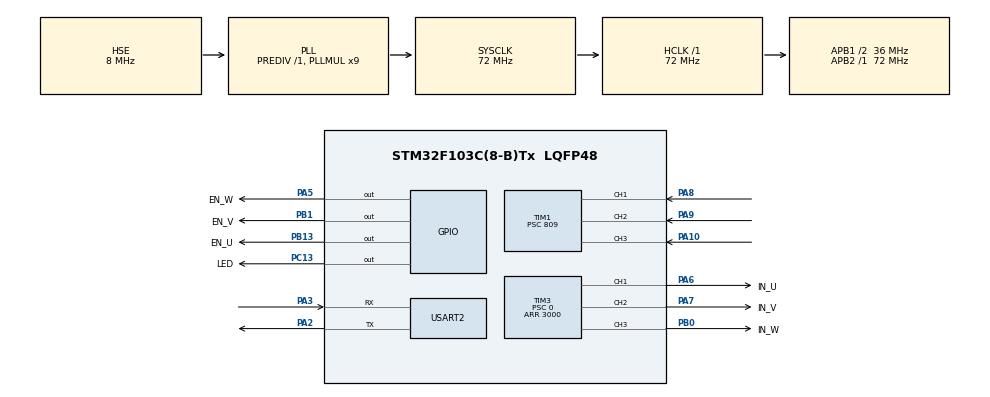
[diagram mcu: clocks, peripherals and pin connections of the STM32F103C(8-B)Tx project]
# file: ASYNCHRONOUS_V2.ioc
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Dma.Request0=USART2_TX
Dma.USART2_TX.0.Direction=DMA_MEMORY_TO_PERIPH
Dma.USART2_TX.0.Instance=DMA1_Channel7
Dma.USART2_TX.0.MemDataAlignment=DMA_MDATAALIGN_BYTE
Dma.USART2_TX.0.MemInc=DMA_MINC_ENABLE
Dma.USART2_TX.0.Mode=DMA_CIRCULAR
Dma.USART2_TX.0.PeriphDataAlignment=DMA_PDATAALIGN_BYTE
Dma.USART2_TX.0.PeriphInc=DMA_PINC_DISABLE
Dma.USART2_TX.0.Priority=DMA_PRIORITY_LOW
Mcu.Family=STM32F1
Mcu.Name=STM32F103C(8-B)Tx
Mcu.Package=LQFP48
NVIC.DMA1_Channel7_IRQn=true\:0\:0\:false\:false\:true\:false\:true\:true
NVIC.PriorityGroup=NVIC_PRIORITYGROUP_4
NVIC.TIM4_IRQn=true\:0\:0\:true\:false\:true\:true\:true\:true
NVIC.USART2_IRQn=true\:0\:0\:true\:false\:true\:true\:true\:true
PA10.Signal=S_TIM1_CH3
PA13.Mode=Serial_Wire
PA13.Signal=SYS_JTMS-SWDIO
PA14.Mode=Serial_Wire
PA14.Signal=SYS_JTCK-SWCLK
PA2.Mode=Asynchronous
PA2.Signal=USART2_TX
PA3.Mode=Asynchronous
PA3.Signal=USART2_RX
PA5.GPIO_Label=EN_W
PA5.GPIO_ModeDefaultOutputPP=GPIO_MODE_OUTPUT_PP
PA5.GPIO_PuPd=GPIO_NOPULL
PA5.GPIO_Speed=GPIO_SPEED_FREQ_LOW
PA5.Signal=GPIO_Output
PA6.GPIO_Label=IN_U
PA6.GPIO_Speed=GPIO_SPEED_FREQ_HIGH
PA6.Signal=S_TIM3_CH1
PA7.GPIO_Label=IN_V
PA7.GPIO_Speed=GPIO_SPEED_FREQ_HIGH
PA7.Signal=S_TIM3_CH2
PA8.Signal=S_TIM1_CH1
PA9.Signal=S_TIM1_CH2
PB0.GPIO_Label=IN_W
PB0.GPIO_Speed=GPIO_SPEED_FREQ_HIGH
PB0.Signal=S_TIM3_CH3
PB1.GPIO_Label=EN_V
PB1.GPIO_ModeDefaultOutputPP=GPIO_MODE_OUTPUT_PP
PB1.GPIO_PuPd=GPIO_NOPULL
PB1.GPIO_Speed=GPIO_SPEED_FREQ_LOW
PB1.Signal=GPIO_Output
PB13.GPIO_Label=EN_U
PB13.GPIO_ModeDefaultOutputPP=GPIO_MODE_OUTPUT_PP
PB13.GPIO_PuPd=GPIO_NOPULL
PB13.GPIO_Speed=GPIO_SPEED_FREQ_LOW
PB13.Signal=GPIO_Output
PC13-TAMPER-RTC.GPIO_Label=LED
PC13-TAMPER-RTC.Signal=GPIO_Output
PD0-OSC_IN.Mode=HSE-External-Oscillator
PD0-OSC_IN.Signal=RCC_OSC_IN
PD1-OSC_OUT.Mode=HSE-External-Oscillator
PD1-OSC_OUT.Signal=RCC_OSC_OUT
ProjectManager.HeapSize=0x200
ProjectManager.StackSize=0x400
ProjectManager.TargetToolchain=STM32CubeIDE
RCC.ADCPresc=RCC_ADCPCLK2_DIV8
RCC.AHBFreq_Value=72000000
RCC.APB1CLKDivider=RCC_HCLK_DIV2
RCC.APB1Freq_Value=36000000
RCC.APB1TimFreq_Value=72000000
RCC.APB2Freq_Value=72000000
RCC.APB2TimFreq_Value=72000000
RCC.HCLKFreq_Value=72000000
RCC.PLLMUL=RCC_PLL_MUL9
RCC.PLLSourceVirtual=RCC_PLLSOURCE_HSE
RCC.SYSCLKFreq_VALUE=72000000
RCC.SYSCLKSource=RCC_SYSCLKSOURCE_PLLCLK
RCC.USBFreq_Value=72000000
SH.S_TIM1_CH1.0=TIM1_CH1,Input_Capture1_from_TI1
SH.S_TIM1_CH2.0=TIM1_CH2,Input_Capture2_from_TI2
SH.S_TIM1_CH3.0=TIM1_CH3,Input_Capture3_from_TI3
SH.S_TIM3_CH1.0=TIM3_CH1,PWM Generation1 CH1
SH.S_TIM3_CH2.0=TIM3_CH2,PWM Generation2 CH2
SH.S_TIM3_CH3.0=TIM3_CH3,PWM Generation3 CH3
TIM1.Channel-Input_Capture1_from_TI1=TIM_CHANNEL_1
TIM1.Channel-Input_Capture2_from_TI2=TIM_CHANNEL_2
TIM1.Channel-Input_Capture3_from_TI3=TIM_CHANNEL_3
TIM1.ICFilter_CH1=12
TIM1.ICFilter_CH2=12
TIM1.ICFilter_CH3=12
TIM1.Prescaler=809
TIM3.AutoReloadPreload=TIM_AUTORELOAD_PRELOAD_ENABLE
TIM3.Channel-PWM\ Generation1\ CH1=TIM_CHANNEL_1
TIM3.Channel-PWM\ Generation2\ CH2=TIM_CHANNEL_2
TIM3.Channel-PWM\ Generation3\ CH3=TIM_CHANNEL_3
TIM3.OC1Preload_PWM=DISABLE
TIM3.OC2Preload_PWM=DISABLE
TIM3.OC3Preload_PWM=DISABLE
TIM3.OCFastMode_PWM-PWM\ Generation1\ CH1=TIM_OCFAST_DISABLE
TIM3.OCFastMode_PWM-PWM\ Generation2\ CH2=TIM_OCFAST_DISABLE
TIM3.Period=3000
TIM3.Prescaler=0
TIM3.TIM_MasterOutputTrigger=TIM_TRGO_UPDATE
TIM4.AutoReloadPreload=TIM_AUTORELOAD_PRELOAD_DISABLE
TIM4.Channel-Output\ Compare1\ No\ Output=TIM_CHANNEL_1
TIM4.Channel-Output\ Compare2\ No\ Output=TIM_CHANNEL_2
TIM4.ClockDivision=TIM_CLOCKDIVISION_DIV1
TIM4.OC1Preload=ENABLE
TIM4.OC2Preload=ENABLE
TIM4.OCMode_2=TIM_OCMODE_TIMING
TIM4.Period=19999
TIM4.Prescaler=7199
TIM4.TIM_MasterOutputTrigger=TIM_TRGO_UPDATE
USART2.VirtualMode=VM_ASYNC
VP_TIM1_VS_ClockSourceINT.Mode=Internal
VP_TIM3_VS_ClockSourceINT.Mode=Internal
VP_TIM4_VS_ClockSourceINT.Mode=Internal
VP_TIM4_VS_no_output1.Mode=Output Compare1 No Output
VP_TIM4_VS_no_output2.Mode=Output Compare2 No Output
board=custom

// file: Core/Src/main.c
/* USER CODE BEGIN Header */
/**
  ******************************************************************************
  * @file           : main.c
  * @brief          : Main program body
  ******************************************************************************
  * @attention
  *
  * Copyright (c) 2025 STMicroelectronics.
  * All rights reserved.
  *
  * This software is licensed under terms that can be found in the LICENSE file
  * in the root directory of this software component.
  * If no LICENSE file comes with this software, it is provided AS-IS.
  *
  ******************************************************************************
  */
/* USER CODE END Header */
#include "main.h"

TIM_HandleTypeDef htim1;
TIM_HandleTypeDef htim3;
TIM_HandleTypeDef htim4;

UART_HandleTypeDef huart2;
DMA_HandleTypeDef hdma_usart2_tx;

/* USER CODE BEGIN PV */
const uint8_t float_phase_lookuptable[6] = {PHASE_W,PHASE_V,PHASE_U,PHASE_W,PHASE_V,PHASE_U}; //W ch1, U ch2, V ch3
 typedef enum {
	IDLE,
	PROCESS_COMMAND,
	STARTUP,
	RUNNING,
	ALIGNING,
	READY, // aligned
	FINISH

}state;

 void commutation(uint8_t step,uint16_t pwm);
 void commutator(void);
 void processCommand(char *input);
 void clearRxBuffer(void);

 void blink(void);
 state handleState(void);
 void ledON(void);
 void alignment(void);
 void startup(void);
 void pwm_stop(void);
 void pwm_init(void);
 long map(long x, long in_min, long in_max, long out_min, long out_max) {
	return (x - in_min) * (out_max - out_min) / (in_max - in_min) + out_min;
}
 uint8_t rx_data[1];
 uint8_t rx_buffer[BUFFER_SIZE];
 uint8_t rx_index = 0;
 volatile state state_machine = IDLE;
 volatile bool eventFlag = false;

 volatile uint16_t pwmVal = 0;
 volatile uint8_t commutationStep = 0;
 volatile uint16_t commutationTime = 0;
volatile uint16_t reference_comm = 0;
volatile uint16_t reference_zcp = 0;

volatile uint16_t zcp_period=400;
volatile uint16_t zcp_period_next;
volatile uint16_t zcp_period_flt;
volatile uint16_t nextCommutTime;
volatile uint16_t halfCommutTime;
 bool aligned_flag = false;
 bool startup_flag = false;
 bool startup_ok = false;
bool float_W = false;
bool float_U = false;
bool float_V = false;
 bool floating_phases[3] = {false,false,false};
 uint8_t floating_phase_iterator = 0;
uint8_t sensor_state;
 typedef struct {
     char *command;               // Texto del comando
     void (*execute)();
 } Command;

 Command commandTable[] = {
     {"ALIGN", alignment},
 	{"LEDON", ledON},
 	{"STARTUP", startup},
     {NULL, NULL}  // Marca el final de la tabla
 };
 typedef struct{
 	state currentState;
 	bool *eventFlag;
 	uint32_t delay;
 }TimerDependentEvent;

 TimerDependentEvent eventTable[]={
 		{ALIGNING, &aligned_flag, 1},
 		{RUNNING, &eventFlag, 1},
		{STARTUP, &startup_flag, STARTUP_TIME_X},
 		{IDLE, NULL, 0}
 };

#define COEF_ADVC_ANGLE 0.105
#define NUM_TIMER_EVENTS (sizeof(eventTable)/sizeof(eventTable[0]))
#define PWM_STOP 		HAL_TIM_PWM_Stop(&htim3, IN_U);\
						HAL_TIM_PWM_Stop(&htim3, IN_V);\
						HAL_TIM_PWM_Stop(&htim3, IN_W);
/* USER CODE END PV */

void SystemClock_Config(void);
static void MX_GPIO_Init(void);
static void MX_DMA_Init(void);
static void MX_TIM4_Init(void);
static void MX_USART2_UART_Init(void);
static void MX_TIM3_Init(void);
static void MX_TIM1_Init(void);

/* USER CODE BEGIN 0 */

void pwm_stop(void) {
	__HAL_TIM_SET_COMPARE(&htim3, IN_U, 0);
	__HAL_TIM_SET_COMPARE(&htim3, IN_V, 0);
	__HAL_TIM_SET_COMPARE(&htim3, IN_W, 0);
	__HAL_TIM_SET_COUNTER(&htim3, 0);

}

void pwm_init(void){
	__HAL_TIM_SET_COMPARE(&htim3, IN_U, 0);
	__HAL_TIM_SET_COMPARE(&htim3, IN_V, 0);
	__HAL_TIM_SET_COMPARE(&htim3, IN_W, 0);

	HAL_TIM_PWM_Start(&htim3, IN_U);
	HAL_TIM_PWM_Start(&htim3,IN_V);
	HAL_TIM_PWM_Start(&htim3, IN_W);
	return;
}

void alignment(void){
	aligned_flag = false;
	state_machine = ALIGNING;
	HAL_TIM_Base_Stop_IT(&htim4);
	HAL_TIM_OC_Stop_IT(&htim4, TIM_CHANNEL_1);
	HAL_TIM_Base_Stop(&htim4);

	__HAL_TIM_SET_COUNTER(&htim4, 0);
	__HAL_TIM_SET_COMPARE(&htim4, TIM_CHANNEL_1, ALIGN_TIME);
	pwm_init();

	commutation(POS_UV, DC_ALIGN);
	HAL_TIM_Base_Start_IT(&htim4);
	HAL_TIM_OC_Start_IT(&htim4, TIM_CHANNEL_1);
	while(!aligned_flag);
	state_machine = READY;
	pwm_stop();
}

void startup(void){
	alignment();
	state_machine =  STARTUP;
	bool  localFlag = false;
	pwmVal = DC_STARTUP_INIT;
	pwm_init();
	commutationStep = POS_UV;
	commutationTime = TIME_STARTUP_COMMUTATION_INIT;
	uint16_t duration = 0;
	pwm_init();
	while(!localFlag){
		//__HAL_TIM_SET_COUNTER(&htim4, 0);
		//__HAL_TIM_SET_COMPARE(&htim4, TIM_CHANNEL_1, time);
		HAL_Delay(commutationTime);
		commutation(commutationStep, pwmVal);
		//HAL_TIM_Base_Start_IT(&htim4);
		//HAL_TIM_OC_Start_IT(&htim4, TIM_CHANNEL_1);
		//while(!startup_flag);

		commutationStep = (commutationStep + 1) % NUM_POS;
		(pwmVal < DC_STARTUP_END) ? pwmVal += DC_STARTUP_STEP : pwmVal;
	    if (commutationTime > TIME_STARTUP_COMMUTATION_FINAL) {
	    	commutationTime -= TIME_STARTUP_STEP;
	    } else if (duration < 500){
	        duration++;

	    }
	    else {

			localFlag = true;

			__HAL_TIM_SET_COUNTER(&htim4, 0);

	    }
//		startup_flag = false;

	}
	//commutationTime*=10;
	HAL_TIM_OC_Stop_IT(&htim4, TIM_CHANNEL_1); // Detiene canal 1
	TIM4->ARR = 0xFFFF;
	TIM4->PSC = 809;

	float_U = true;
	float_V = true;
	float_W = true;
	__HAL_TIM_SET_COUNTER(&htim4, 0);

}

void ledON(){

	eventFlag = true;

	__HAL_TIM_SET_COMPARE(&htim4, TIM_CHANNEL_1, 19999);

	HAL_TIM_OC_Start_IT(&htim4, TIM_CHANNEL_1);

}
void processCommand(char *input) {
    for (int i = 0; commandTable[i].command != NULL; i++) {
        if (strcmp(input, commandTable[i].command) == 0) {  // Compara el comando recibido
            eventFlag = true;
        	commandTable[i].execute();  // Ejecuta la función asociada
            clearRxBuffer();  // Limpia el buffer acumulador

            return;
        }
    }
    // Si no se encuentra el comando
    HAL_UART_Transmit(&huart2, (uint8_t *)"Unknown Command\r\n", 17, 3);
    clearRxBuffer();
    state_machine = IDLE;
    return;// Limpia el buffer acumulador

}

void clearRxBuffer(void) {
    memset(rx_buffer, 0, BUFFER_SIZE);  // Establece todos los elementos a 0
    rx_index = 0;                          // Reinicia el índice del buffer
}

void HAL_UART_RxCpltCallback(UART_HandleTypeDef *huart) {
    if (huart->Instance == USART2) {  // Verifica el UART correcto
        if (rx_data[0] == '\r') {  // Detecta el carácter de fin de línea
            rx_buffer[rx_index] = '\0';  // Finaliza la cadena con terminador nulo
            rx_index = 0;  // Reinicia el índice para el próximo mensaje

            // Procesa el mensaje completo
            HAL_UART_Transmit(&huart2, (uint8_t *)"\r\nReceived: ", 12, 3);
            HAL_UART_Transmit(&huart2, rx_buffer	, strlen((char *)rx_buffer), 3);
            HAL_UART_Transmit(&huart2, (uint8_t *)"\r\n", 2, HAL_MAX_DELAY);
            state_machine = PROCESS_COMMAND;
        } else if (rx_data[0] == '\b' || rx_data[0] == '\177') {  // Detecta Backspace
            if (rx_index > 0) {  // Si hay algo en el buffer
                rx_index--;  // Retrocede el índice
                // Simula el borrado en el terminal
                HAL_UART_Transmit(&huart2, (uint8_t *)"\b \b", 3, 3);
            }
        } else {  // Cualquier otro carácter
            rx_buffer[rx_index++] = rx_data[0];  // Almacena el carácter en el buffer
            HAL_UART_Transmit(&huart2, rx_data, 1, HAL_MAX_DELAY);  // Eco del carácter recibido

            // Evita desbordamientos
            if (rx_index >= BUFFER_SIZE) {
                HAL_UART_Transmit(&huart2, (uint8_t *)"\r\nBuffer Overflow\r\n", 19, 3);
                rx_index = 0;  // Reinicia el índice en caso de desbordamiento
            }
        }

        // Reinicia la recepción para el siguiente byte
        HAL_UART_Receive_IT(&huart2, rx_data, 1);
    }
}
state handleState(void){
	switch(state_machine){
	case IDLE:
		if(!__HAL_UART_GET_IT_SOURCE(&huart2, UART_IT_RXNE)){
			__HAL_UART_ENABLE_IT(&huart2, UART_IT_RXNE);
		}
		break;

	case PROCESS_COMMAND:
		__HAL_UART_DISABLE_IT(&huart2, UART_IT_RXNE);
		processCommand((char*) rx_buffer);
		break;

	case STARTUP:
		__HAL_UART_DISABLE_IT(&huart2, UART_IT_RXNE);
		//startup();
		break;
	case ALIGNING:
		__HAL_UART_DISABLE_IT(&huart2, UART_IT_RXNE);
		alignment();
		break;
	case RUNNING:
		__HAL_UART_DISABLE_IT(&huart2, UART_IT_RXNE);
		break;

	case READY:
		if(!__HAL_UART_GET_IT_SOURCE(&huart2, UART_IT_RXNE)){
					__HAL_UART_ENABLE_IT(&huart2, UART_IT_RXNE);
				}
		break;
	case FINISH:
		// Asegúrate de que las interrupciones de UART estén habilitadas al finalizar
		//timerCounter = 0; // Reinicia el contador
		__HAL_UART_ENABLE_IT(&huart2, UART_IT_RXNE);
		state_machine = IDLE; // Vuelve al estado IDLE

		break;

}
	return (state_machine);
}

void commutation(uint8_t step, uint16_t pwm) {

    switch(step) {

        case POS_UV:
        	pwm_stop();
        	float_W = true;
        	float_V = false;
        	float_U = false;
            GPIOA->ODR &= ~EN_W;         // Desactivar EN_W

            GPIOB->ODR |= EN_U;
			GPIOB->ODR |= EN_V;  // Activar EN_U y EN_V

            __HAL_TIM_SET_COMPARE(&htim3, IN_U, pwm);
            __HAL_TIM_SET_COMPARE(&htim3, IN_V, 0);
        	__HAL_TIM_SET_COUNTER(&htim3, 0);

            break;
        case POS_UW:
        	pwm_stop();
        	float_W = false;
            	float_U = false;
            	float_V = true;
            GPIOB->ODR &= ~EN_V;         // Desactivar EN_V

            GPIOA->ODR |=  EN_W;

            __HAL_TIM_SET_COMPARE(&htim3, IN_U, pwm);
            __HAL_TIM_SET_COMPARE(&htim3, IN_W, 0);
            __HAL_TIM_SET_COUNTER(&htim3, 0);

            break;
        case POS_VW:
        	pwm_stop();
        	float_W = false;
        	float_V = false;
        	float_U = true;
            GPIOB->ODR &= ~EN_U;         // Desactivar EN_U

            GPIOB->ODR |= EN_V; // Activar EN_V y EN_W
            __HAL_TIM_SET_COMPARE(&htim3, IN_V, pwm);
            __HAL_TIM_SET_COMPARE(&htim3, IN_W, 0);
        	__HAL_TIM_SET_COUNTER(&htim3, 0);

            break;
        case POS_VU:
        	pwm_stop();

        	float_W = true;
                	float_V = false;
                	float_U = false;
            GPIOB->ODR |= EN_U; // Activar EN_U y EN_V
            GPIOB->ODR |=  EN_V;
            GPIOA->ODR &= ~EN_W;
            __HAL_TIM_SET_COMPARE(&htim3, IN_V, pwm);
            __HAL_TIM_SET_COMPARE(&htim3, IN_U, 0);
        	__HAL_TIM_SET_COUNTER(&htim3, 0);

            break;
        case POS_WU:
        	pwm_stop();
        	float_W = false;
        	float_U = false;
        	float_V = true;

            GPIOB->ODR &= ~EN_V;         // Desactivar EN_V
            GPIOA->ODR |=  EN_W;

            __HAL_TIM_SET_COMPARE(&htim3, IN_W, pwm);
            __HAL_TIM_SET_COMPARE(&htim3, IN_U, 0);
        	__HAL_TIM_SET_COUNTER(&htim3, 0);

            break;
        case POS_WV:
        	pwm_stop();
           	float_W = false;
                	float_V = false;
                	float_U = true;
            GPIOB->ODR &= ~EN_U;         // Desactivar EN_U

            GPIOB->ODR |= EN_V; // Activar EN_V y EN_W

            __HAL_TIM_SET_COMPARE(&htim3, IN_W, pwm);
            __HAL_TIM_SET_COMPARE(&htim3, IN_V, 0);
        	__HAL_TIM_SET_COUNTER(&htim3, 0);

            break;
        default:
            break;
    }
}

void HAL_TIM_OC_DelayElapsedCallback(TIM_HandleTypeDef *htim) {
	if (htim->Instance == TIM4 && htim->Channel == HAL_TIM_ACTIVE_CHANNEL_1) {
	    //TIM3->CCER &= ~(TIM_CCER_CC1E | TIM_CCER_CC2E | TIM_CCER_CC3E | TIM_CCER_CC4E);
		__HAL_TIM_DISABLE(&htim4);

		__HAL_TIM_SET_COUNTER(&htim4, 0);
		HAL_TIM_Base_Stop_IT(&htim4);
		HAL_TIM_Base_Stop(&htim4);

		HAL_TIM_OC_Stop_IT(&htim4, TIM_CHANNEL_1);
		for (int i = 0; i < NUM_TIMER_EVENTS; i++) {
			// Detener el temporizador y deshabilitar el contador
			if (eventTable[i].currentState == state_machine) {
				if (eventTable[i].eventFlag != NULL) {
					*(eventTable[i].eventFlag) = true;
					__HAL_TIM_ENABLE(&htim4);
					__HAL_TIM_SET_COUNTER(&htim4, 0);

					HAL_TIM_OC_Stop_IT(&htim4, TIM_CHANNEL_1);

					return;

				}
				break;

			}

		}
		__HAL_TIM_SET_COUNTER(&htim4, 0);
		HAL_TIM_Base_Start_IT(&htim4);
		HAL_TIM_OC_Start_IT(&htim4, TIM_CHANNEL_1);
		__HAL_TIM_ENABLE(&htim4);

	}

}
/*
void HAL_TIM_IC_CaptureCallback(TIM_HandleTypeDef *htim){
	if(htim->Instance == TIM1 ){
		__disable_irq();
		HAL_GPIO_TogglePin(GPIOC, GPIO_PIN_13);
			/*
			 * volatile uint16_t zcp_period=400;
	volatile uint16_t zcp_period_next;
	volatile uint16_t zcp_period_flt;
	volatile uint16_t nextCommutTime;
	volatile uint16_t halfCommutTime;

		zcp_period_next = TIM2->CCR1;

		zcp_period_flt = zcp_period_next*0.5 + zcp_period * 0.5;
		zcp_period = zcp_period_next;
		halfCommutTime = COEF_ADVC_ANGLE * zcp_period_flt;
		nextCommutTime = zcp_period_flt + halfCommutTime;

		__HAL_TIM_SET_COMPARE(&htim4, TIM_CHANNEL_2, nextCommutTime);
		__HAL_TIM_SET_COUNTER(&htim4, 0);

	__enable_irq();

	}
}
 */

/* USER CODE END 0 */

int main(void)
{

  /* MCU Configuration--------------------------------------------------------*/

  /* Reset of all peripherals, Initializes the Flash interface and the Systick. */
  HAL_Init();

  /* Configure the system clock */
  SystemClock_Config();

  /* Initialize all configured peripherals */
  MX_GPIO_Init();
  MX_DMA_Init();
  MX_TIM4_Init();
  MX_USART2_UART_Init();
  MX_TIM3_Init();
  MX_TIM1_Init();
  /* USER CODE BEGIN 2 */

  HAL_TIMEx_HallSensor_Start_IT(&htim1);

  HAL_TIMEx_ConfigCommutEvent_IT(
    &htim1,
    TIM_TS_NONE, // Usa el trigger interno del Hall Sensor
    TIM_COMMUTATION_SOFTWARE
  );
  HAL_GPIO_WritePin(LED_GPIO_Port, LED_Pin, GPIO_PIN_RESET);
  HAL_UART_Receive_IT(&huart2, rx_data, 1);

  /* USER CODE END 2 */

  /* Infinite loop */
  /* USER CODE BEGIN WHILE */
  while (1)
  {
	  handleState();
    /* USER CODE END WHILE */

  }
}

void SystemClock_Config(void)
{
  RCC_OscInitTypeDef RCC_OscInitStruct = {0};
  RCC_ClkInitTypeDef RCC_ClkInitStruct = {0};

  /** Initializes the RCC Oscillators according to the specified parameters
  * in the RCC_OscInitTypeDef structure.
  */
  RCC_OscInitStruct.OscillatorType = RCC_OSCILLATORTYPE_HSE;
  RCC_OscInitStruct.HSEState = RCC_HSE_ON;
  RCC_OscInitStruct.HSEPredivValue = RCC_HSE_PREDIV_DIV1;
  RCC_OscInitStruct.HSIState = RCC_HSI_ON;
  RCC_OscInitStruct.PLL.PLLState = RCC_PLL_ON;
  RCC_OscInitStruct.PLL.PLLSource = RCC_PLLSOURCE_HSE;
  RCC_OscInitStruct.PLL.PLLMUL = RCC_PLL_MUL9;
  if (HAL_RCC_OscConfig(&RCC_OscInitStruct) != HAL_OK)
  {
    Error_Handler();
  }

  /** Initializes the CPU, AHB and APB buses clocks
  */
  RCC_ClkInitStruct.ClockType = RCC_CLOCKTYPE_HCLK|RCC_CLOCKTYPE_SYSCLK
                              |RCC_CLOCKTYPE_PCLK1|RCC_CLOCKTYPE_PCLK2;
  RCC_ClkInitStruct.SYSCLKSource = RCC_SYSCLKSOURCE_PLLCLK;
  RCC_ClkInitStruct.AHBCLKDivider = RCC_SYSCLK_DIV1;
  RCC_ClkInitStruct.APB1CLKDivider = RCC_HCLK_DIV2;
  RCC_ClkInitStruct.APB2CLKDivider = RCC_HCLK_DIV1;

  if (HAL_RCC_ClockConfig(&RCC_ClkInitStruct, FLASH_LATENCY_2) != HAL_OK)
  {
    Error_Handler();
  }
}

static void MX_TIM1_Init(void)
{

  TIM_ClockConfigTypeDef sClockSourceConfig = {0};
  TIM_MasterConfigTypeDef sMasterConfig = {0};
  TIM_IC_InitTypeDef sConfigIC = {0};

  htim1.Instance = TIM1;
  htim1.Init.Prescaler = 809;
  htim1.Init.CounterMode = TIM_COUNTERMODE_UP;
  htim1.Init.Period = 65535;
  htim1.Init.ClockDivision = TIM_CLOCKDIVISION_DIV1;
  htim1.Init.RepetitionCounter = 0;
  htim1.Init.AutoReloadPreload = TIM_AUTORELOAD_PRELOAD_DISABLE;
  if (HAL_TIM_Base_Init(&htim1) != HAL_OK)
  {
    Error_Handler();
  }
  sClockSourceConfig.ClockSource = TIM_CLOCKSOURCE_INTERNAL;
  if (HAL_TIM_ConfigClockSource(&htim1, &sClockSourceConfig) != HAL_OK)
  {
    Error_Handler();
  }
  if (HAL_TIM_IC_Init(&htim1) != HAL_OK)
  {
    Error_Handler();
  }
  sMasterConfig.MasterOutputTrigger = TIM_TRGO_RESET;
  sMasterConfig.MasterSlaveMode = TIM_MASTERSLAVEMODE_DISABLE;
  if (HAL_TIMEx_MasterConfigSynchronization(&htim1, &sMasterConfig) != HAL_OK)
  {
    Error_Handler();
  }
  sConfigIC.ICPolarity = TIM_INPUTCHANNELPOLARITY_RISING;
  sConfigIC.ICSelection = TIM_ICSELECTION_DIRECTTI;
  sConfigIC.ICPrescaler = TIM_ICPSC_DIV1;
  sConfigIC.ICFilter = 12;
  if (HAL_TIM_IC_ConfigChannel(&htim1, &sConfigIC, TIM_CHANNEL_1) != HAL_OK)
  {
    Error_Handler();
  }
  if (HAL_TIM_IC_ConfigChannel(&htim1, &sConfigIC, TIM_CHANNEL_2) != HAL_OK)
  {
    Error_Handler();
  }
  if (HAL_TIM_IC_ConfigChannel(&htim1, &sConfigIC, TIM_CHANNEL_3) != HAL_OK)
  {
    Error_Handler();
  }

}

static void MX_TIM3_Init(void)
{

  TIM_ClockConfigTypeDef sClockSourceConfig = {0};
  TIM_MasterConfigTypeDef sMasterConfig = {0};
  TIM_OC_InitTypeDef sConfigOC = {0};

  htim3.Instance = TIM3;
  htim3.Init.Prescaler = 0;
  htim3.Init.CounterMode = TIM_COUNTERMODE_UP;
  htim3.Init.Period = 3000;
  htim3.Init.ClockDivision = TIM_CLOCKDIVISION_DIV1;
  htim3.Init.AutoReloadPreload = TIM_AUTORELOAD_PRELOAD_ENABLE;
  if (HAL_TIM_Base_Init(&htim3) != HAL_OK)
  {
    Error_Handler();
  }
  sClockSourceConfig.ClockSource = TIM_CLOCKSOURCE_INTERNAL;
  if (HAL_TIM_ConfigClockSource(&htim3, &sClockSourceConfig) != HAL_OK)
  {
    Error_Handler();
  }
  if (HAL_TIM_PWM_Init(&htim3) != HAL_OK)
  {
    Error_Handler();
  }
  sMasterConfig.MasterOutputTrigger = TIM_TRGO_UPDATE;
  sMasterConfig.MasterSlaveMode = TIM_MASTERSLAVEMODE_DISABLE;
  if (HAL_TIMEx_MasterConfigSynchronization(&htim3, &sMasterConfig) != HAL_OK)
  {
    Error_Handler();
  }
  sConfigOC.OCMode = TIM_OCMODE_PWM1;
  sConfigOC.Pulse = 0;
  sConfigOC.OCPolarity = TIM_OCPOLARITY_HIGH;
  sConfigOC.OCFastMode = TIM_OCFAST_DISABLE;
  if (HAL_TIM_PWM_ConfigChannel(&htim3, &sConfigOC, TIM_CHANNEL_1) != HAL_OK)
  {
    Error_Handler();
  }
  __HAL_TIM_DISABLE_OCxPRELOAD(&htim3, TIM_CHANNEL_1);
  if (HAL_TIM_PWM_ConfigChannel(&htim3, &sConfigOC, TIM_CHANNEL_2) != HAL_OK)
  {
    Error_Handler();
  }
  __HAL_TIM_DISABLE_OCxPRELOAD(&htim3, TIM_CHANNEL_2);
  if (HAL_TIM_PWM_ConfigChannel(&htim3, &sConfigOC, TIM_CHANNEL_3) != HAL_OK)
  {
    Error_Handler();
  }
  __HAL_TIM_DISABLE_OCxPRELOAD(&htim3, TIM_CHANNEL_3);
  HAL_TIM_MspPostInit(&htim3);

}

static void MX_TIM4_Init(void)
{

  TIM_ClockConfigTypeDef sClockSourceConfig = {0};
  TIM_MasterConfigTypeDef sMasterConfig = {0};
  TIM_OC_InitTypeDef sConfigOC = {0};

  /* USER CODE BEGIN TIM4_Init 1 */
  TIM_OnePulse_InitTypeDef sConfig;
  /* USER CODE END TIM4_Init 1 */
  htim4.Instance = TIM4;
  htim4.Init.Prescaler = 7199;
  htim4.Init.CounterMode = TIM_COUNTERMODE_UP;
  htim4.Init.Period = 19999;
  htim4.Init.ClockDivision = TIM_CLOCKDIVISION_DIV1;
  htim4.Init.AutoReloadPreload = TIM_AUTORELOAD_PRELOAD_DISABLE;
  if (HAL_TIM_Base_Init(&htim4) != HAL_OK)
  {
    Error_Handler();
  }
  sClockSourceConfig.ClockSource = TIM_CLOCKSOURCE_INTERNAL;
  if (HAL_TIM_ConfigClockSource(&htim4, &sClockSourceConfig) != HAL_OK)
  {
    Error_Handler();
  }
  if (HAL_TIM_OC_Init(&htim4) != HAL_OK)
  {
    Error_Handler();
  }
  sMasterConfig.MasterOutputTrigger = TIM_TRGO_UPDATE;
  sMasterConfig.MasterSlaveMode = TIM_MASTERSLAVEMODE_DISABLE;
  if (HAL_TIMEx_MasterConfigSynchronization(&htim4, &sMasterConfig) != HAL_OK)
  {
    Error_Handler();
  }
  sConfigOC.OCMode = TIM_OCMODE_TIMING;
  sConfigOC.Pulse = 0;
  sConfigOC.OCPolarity = TIM_OCPOLARITY_HIGH;
  sConfigOC.OCFastMode = TIM_OCFAST_DISABLE;
  if (HAL_TIM_OC_ConfigChannel(&htim4, &sConfigOC, TIM_CHANNEL_1) != HAL_OK)
  {
    Error_Handler();
  }
  __HAL_TIM_ENABLE_OCxPRELOAD(&htim4, TIM_CHANNEL_1);
  if (HAL_TIM_OC_ConfigChannel(&htim4, &sConfigOC, TIM_CHANNEL_2) != HAL_OK)
  {
    Error_Handler();
  }
  __HAL_TIM_ENABLE_OCxPRELOAD(&htim4, TIM_CHANNEL_2);

}

static void MX_USART2_UART_Init(void)
{

  huart2.Instance = USART2;
  huart2.Init.BaudRate = 115200;
  huart2.Init.WordLength = UART_WORDLENGTH_8B;
  huart2.Init.StopBits = UART_STOPBITS_1;
  huart2.Init.Parity = UART_PARITY_NONE;
  huart2.Init.Mode = UART_MODE_TX_RX;
  huart2.Init.HwFlowCtl = UART_HWCONTROL_NONE;
  huart2.Init.OverSampling = UART_OVERSAMPLING_16;
  if (HAL_UART_Init(&huart2) != HAL_OK)
  {
    Error_Handler();
  }

}

static void MX_DMA_Init(void)
{

  /* DMA controller clock enable */
  __HAL_RCC_DMA1_CLK_ENABLE();

  /* DMA interrupt init */
  /* DMA1_Channel7_IRQn interrupt configuration */
  HAL_NVIC_SetPriority(DMA1_Channel7_IRQn, 0, 0);
  HAL_NVIC_EnableIRQ(DMA1_Channel7_IRQn);

}

static void MX_GPIO_Init(void)
{
  GPIO_InitTypeDef GPIO_InitStruct = {0};

  /* GPIO Ports Clock Enable */
  __HAL_RCC_GPIOC_CLK_ENABLE();
  __HAL_RCC_GPIOD_CLK_ENABLE();
  __HAL_RCC_GPIOA_CLK_ENABLE();
  __HAL_RCC_GPIOB_CLK_ENABLE();

  /*Configure GPIO pin Output Level */
  HAL_GPIO_WritePin(LED_GPIO_Port, LED_Pin, GPIO_PIN_RESET);

  /*Configure GPIO pin Output Level */
  HAL_GPIO_WritePin(EN_W_GPIO_Port, EN_W_Pin, GPIO_PIN_RESET);

  /*Configure GPIO pin Output Level */
  HAL_GPIO_WritePin(GPIOB, EN_V_Pin|EN_U_Pin, GPIO_PIN_RESET);

  /*Configure GPIO pin : LED_Pin */
  GPIO_InitStruct.Pin = LED_Pin;
  GPIO_InitStruct.Mode = GPIO_MODE_OUTPUT_PP;
  GPIO_InitStruct.Pull = GPIO_NOPULL;
  GPIO_InitStruct.Speed = GPIO_SPEED_FREQ_LOW;
  HAL_GPIO_Init(LED_GPIO_Port, &GPIO_InitStruct);

  /*Configure GPIO pin : EN_W_Pin */
  GPIO_InitStruct.Pin = EN_W_Pin;
  GPIO_InitStruct.Mode = GPIO_MODE_OUTPUT_PP;
  GPIO_InitStruct.Pull = GPIO_NOPULL;
  GPIO_InitStruct.Speed = GPIO_SPEED_FREQ_LOW;
  HAL_GPIO_Init(EN_W_GPIO_Port, &GPIO_InitStruct);

  /*Configure GPIO pins : EN_V_Pin EN_U_Pin */
  GPIO_InitStruct.Pin = EN_V_Pin|EN_U_Pin;
  GPIO_InitStruct.Mode = GPIO_MODE_OUTPUT_PP;
  GPIO_InitStruct.Pull = GPIO_NOPULL;
  GPIO_InitStruct.Speed = GPIO_SPEED_FREQ_LOW;
  HAL_GPIO_Init(GPIOB, &GPIO_InitStruct);

}

void Error_Handler(void)
{
  __disable_irq();
  while (1)
  {
  }
}
